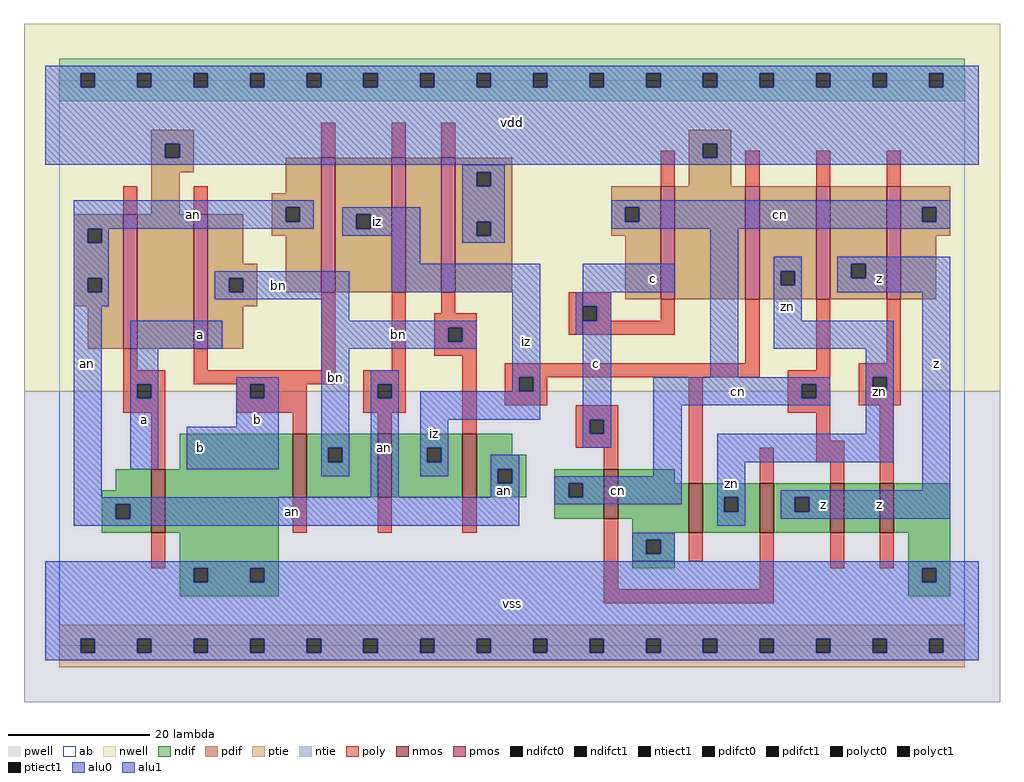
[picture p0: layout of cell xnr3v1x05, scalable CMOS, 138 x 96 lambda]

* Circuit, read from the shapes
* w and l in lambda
.subckt xnr3v1x05 a an b bn c cn iz vdd vss z zn
M1 vss a an vss nfet w=9 l=2
M2 bn b vss vss nfet w=9 l=2
M3 iz an bn vss nfet w=9 l=2
M4 an bn iz vss nfet w=9 l=2
M5 vss c cn vss nfet w=7 l=2
M6 zn iz vss vss nfet w=7 l=2
M7 z c zn vss nfet w=7 l=2
M8 n1 cn z vss nfet w=7 l=2
M9 vss zn n1 vss nfet w=7 l=2
M10 vdd a an vdd pfet w=19 l=2
M11 bn b vdd vdd pfet w=19 l=2
M12 iz b an vdd pfet w=19 l=2
M13 n2 an iz vdd pfet w=19 l=2
M14 vdd bn n2 vdd pfet w=19 l=2
M15 vdd c cn vdd pfet w=16 l=2
M16 zn iz vdd vdd pfet w=16 l=2
M17 z cn zn vdd pfet w=16 l=2
M18 cn zn z vdd pfet w=16 l=2
.ends

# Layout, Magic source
magic
tech scmos
<< ab >>
rect 0 0 128 80
<< nwell >>
rect -5 36 133 88
<< pwell >>
rect -5 -8 133 36
<< poly >>
rect 37 69 39 74
rect 47 69 49 74
rect 54 69 56 74
rect 9 61 11 65
rect 19 61 21 65
rect 85 65 87 70
rect 97 65 99 70
rect 107 65 109 70
rect 117 65 119 70
rect 9 39 11 42
rect 19 39 21 42
rect 37 39 39 50
rect 47 39 49 50
rect 54 47 56 50
rect 72 48 78 50
rect 53 45 59 47
rect 53 43 55 45
rect 57 43 59 45
rect 72 46 74 48
rect 76 46 78 48
rect 85 46 87 49
rect 72 44 87 46
rect 53 41 59 43
rect 9 37 15 39
rect 19 37 39 39
rect 43 37 49 39
rect 9 35 11 37
rect 13 35 15 37
rect 9 33 15 35
rect 25 35 27 37
rect 29 35 35 37
rect 25 33 35 35
rect 43 35 45 37
rect 47 35 49 37
rect 43 33 49 35
rect 13 25 15 33
rect 33 30 35 33
rect 45 30 47 33
rect 57 30 59 41
rect 97 40 99 49
rect 63 38 99 40
rect 107 39 109 49
rect 117 40 119 49
rect 63 36 65 38
rect 67 36 69 38
rect 63 34 69 36
rect 73 32 79 34
rect 73 30 75 32
rect 77 30 79 32
rect 73 28 79 30
rect 77 25 79 28
rect 33 16 35 21
rect 45 16 47 21
rect 57 16 59 21
rect 89 23 91 38
rect 103 37 109 39
rect 103 35 105 37
rect 107 35 109 37
rect 103 33 109 35
rect 113 38 119 40
rect 113 36 115 38
rect 117 36 119 38
rect 113 34 119 36
rect 107 29 109 33
rect 99 23 101 28
rect 107 26 111 29
rect 109 23 111 26
rect 116 23 118 34
rect 13 11 15 16
rect 77 8 79 18
rect 89 12 91 16
rect 99 8 101 16
rect 109 11 111 16
rect 116 11 118 16
rect 77 6 101 8
<< ndif >>
rect 17 25 33 30
rect 8 22 13 25
rect 6 20 13 22
rect 6 18 8 20
rect 10 18 13 20
rect 6 16 13 18
rect 15 21 33 25
rect 35 28 45 30
rect 35 26 38 28
rect 40 26 45 28
rect 35 21 45 26
rect 47 28 57 30
rect 47 26 52 28
rect 54 26 57 28
rect 47 21 57 26
rect 59 27 64 30
rect 59 25 66 27
rect 59 23 62 25
rect 64 23 66 25
rect 59 21 66 23
rect 70 23 77 25
rect 70 21 72 23
rect 74 21 77 23
rect 15 16 31 21
rect 70 18 77 21
rect 79 23 87 25
rect 79 18 89 23
rect 17 11 31 16
rect 17 9 19 11
rect 21 9 27 11
rect 29 9 31 11
rect 17 7 31 9
rect 81 16 89 18
rect 91 21 99 23
rect 91 19 94 21
rect 96 19 99 21
rect 91 16 99 19
rect 101 21 109 23
rect 101 19 104 21
rect 106 19 109 21
rect 101 16 109 19
rect 111 16 116 23
rect 118 16 126 23
rect 81 15 87 16
rect 81 13 83 15
rect 85 13 87 15
rect 81 11 87 13
rect 120 11 126 16
rect 120 9 122 11
rect 124 9 126 11
rect 120 7 126 9
<< pdif >>
rect 13 71 19 73
rect 13 69 15 71
rect 17 69 19 71
rect 89 71 95 73
rect 13 67 19 69
rect 13 61 17 67
rect 32 64 37 69
rect 30 62 37 64
rect 2 59 9 61
rect 2 57 4 59
rect 6 57 9 59
rect 2 52 9 57
rect 2 50 4 52
rect 6 50 9 52
rect 2 48 9 50
rect 4 42 9 48
rect 11 42 19 61
rect 21 54 26 61
rect 30 60 32 62
rect 34 60 37 62
rect 30 58 37 60
rect 21 52 28 54
rect 21 50 24 52
rect 26 50 28 52
rect 32 50 37 58
rect 39 61 47 69
rect 39 59 42 61
rect 44 59 47 61
rect 39 50 47 59
rect 49 50 54 69
rect 56 67 64 69
rect 56 65 59 67
rect 61 65 64 67
rect 89 69 91 71
rect 93 69 95 71
rect 89 65 95 69
rect 56 60 64 65
rect 56 58 59 60
rect 61 58 64 60
rect 78 62 85 65
rect 78 60 80 62
rect 82 60 85 62
rect 78 58 85 60
rect 56 50 64 58
rect 21 48 28 50
rect 21 42 26 48
rect 80 49 85 58
rect 87 49 97 65
rect 99 53 107 65
rect 99 51 102 53
rect 104 51 107 53
rect 99 49 107 51
rect 109 54 117 65
rect 109 52 112 54
rect 114 52 117 54
rect 109 49 117 52
rect 119 62 126 65
rect 119 60 122 62
rect 124 60 126 62
rect 119 58 126 60
rect 119 49 124 58
<< alu1 >>
rect -2 81 130 82
rect -2 79 3 81
rect 5 79 11 81
rect 13 79 19 81
rect 21 79 27 81
rect 29 79 35 81
rect 37 79 43 81
rect 45 79 51 81
rect 53 79 59 81
rect 61 79 67 81
rect 69 79 75 81
rect 77 79 83 81
rect 85 79 91 81
rect 93 79 99 81
rect 101 79 107 81
rect 109 79 115 81
rect 117 79 123 81
rect 125 79 130 81
rect -2 71 130 79
rect -2 69 15 71
rect 17 69 91 71
rect 93 69 130 71
rect -2 68 130 69
rect 74 50 87 54
rect 10 42 23 46
rect 10 37 14 42
rect 10 35 11 37
rect 13 35 14 37
rect 10 25 14 35
rect 25 37 31 38
rect 25 35 27 37
rect 29 35 31 37
rect 25 31 31 35
rect 18 25 31 31
rect 74 48 78 50
rect 76 46 78 48
rect 74 32 78 46
rect 110 54 126 55
rect 110 52 112 54
rect 114 52 126 54
rect 110 50 126 52
rect 74 30 75 32
rect 77 30 78 32
rect 74 28 78 30
rect 122 22 126 50
rect 102 21 126 22
rect 102 19 104 21
rect 106 19 126 21
rect 102 18 126 19
rect -2 11 130 12
rect -2 9 19 11
rect 21 9 27 11
rect 29 9 122 11
rect 124 9 130 11
rect -2 1 130 9
rect -2 -1 3 1
rect 5 -1 11 1
rect 13 -1 19 1
rect 21 -1 27 1
rect 29 -1 35 1
rect 37 -1 43 1
rect 45 -1 51 1
rect 53 -1 59 1
rect 61 -1 67 1
rect 69 -1 75 1
rect 77 -1 83 1
rect 85 -1 91 1
rect 93 -1 99 1
rect 101 -1 107 1
rect 109 -1 115 1
rect 117 -1 123 1
rect 125 -1 130 1
rect -2 -2 130 -1
<< ptie >>
rect 0 1 128 3
rect 0 -1 3 1
rect 5 -1 11 1
rect 13 -1 19 1
rect 21 -1 27 1
rect 29 -1 35 1
rect 37 -1 43 1
rect 45 -1 51 1
rect 53 -1 59 1
rect 61 -1 67 1
rect 69 -1 75 1
rect 77 -1 83 1
rect 85 -1 91 1
rect 93 -1 99 1
rect 101 -1 107 1
rect 109 -1 115 1
rect 117 -1 123 1
rect 125 -1 128 1
rect 0 -3 128 -1
<< ntie >>
rect 0 81 128 83
rect 0 79 3 81
rect 5 79 11 81
rect 13 79 19 81
rect 21 79 27 81
rect 29 79 35 81
rect 37 79 43 81
rect 45 79 51 81
rect 53 79 59 81
rect 61 79 67 81
rect 69 79 75 81
rect 77 79 83 81
rect 85 79 91 81
rect 93 79 99 81
rect 101 79 107 81
rect 109 79 115 81
rect 117 79 123 81
rect 125 79 128 81
rect 0 77 128 79
<< nmos >>
rect 13 16 15 25
rect 33 21 35 30
rect 45 21 47 30
rect 57 21 59 30
rect 77 18 79 25
rect 89 16 91 23
rect 99 16 101 23
rect 109 16 111 23
rect 116 16 118 23
<< pmos >>
rect 9 42 11 61
rect 19 42 21 61
rect 37 50 39 69
rect 47 50 49 69
rect 54 50 56 69
rect 85 49 87 65
rect 97 49 99 65
rect 107 49 109 65
rect 117 49 119 65
<< polyct0 >>
rect 55 43 57 45
rect 45 35 47 37
rect 65 36 67 38
rect 105 35 107 37
rect 115 36 117 38
<< polyct1 >>
rect 74 46 76 48
rect 11 35 13 37
rect 27 35 29 37
rect 75 30 77 32
<< ndifct0 >>
rect 8 18 10 20
rect 38 26 40 28
rect 52 26 54 28
rect 62 23 64 25
rect 72 21 74 23
rect 94 19 96 21
rect 83 13 85 15
<< ndifct1 >>
rect 19 9 21 11
rect 27 9 29 11
rect 104 19 106 21
rect 122 9 124 11
<< ntiect1 >>
rect 3 79 5 81
rect 11 79 13 81
rect 19 79 21 81
rect 27 79 29 81
rect 35 79 37 81
rect 43 79 45 81
rect 51 79 53 81
rect 59 79 61 81
rect 67 79 69 81
rect 75 79 77 81
rect 83 79 85 81
rect 91 79 93 81
rect 99 79 101 81
rect 107 79 109 81
rect 115 79 117 81
rect 123 79 125 81
<< ptiect1 >>
rect 3 -1 5 1
rect 11 -1 13 1
rect 19 -1 21 1
rect 27 -1 29 1
rect 35 -1 37 1
rect 43 -1 45 1
rect 51 -1 53 1
rect 59 -1 61 1
rect 67 -1 69 1
rect 75 -1 77 1
rect 83 -1 85 1
rect 91 -1 93 1
rect 99 -1 101 1
rect 107 -1 109 1
rect 115 -1 117 1
rect 123 -1 125 1
<< pdifct0 >>
rect 4 57 6 59
rect 4 50 6 52
rect 32 60 34 62
rect 24 50 26 52
rect 42 59 44 61
rect 59 65 61 67
rect 59 58 61 60
rect 80 60 82 62
rect 102 51 104 53
rect 122 60 124 62
<< pdifct1 >>
rect 15 69 17 71
rect 91 69 93 71
rect 112 52 114 54
<< alu0 >>
rect 57 67 63 68
rect 57 65 59 67
rect 61 65 63 67
rect 2 62 36 63
rect 2 60 32 62
rect 34 60 36 62
rect 2 59 36 60
rect 40 61 51 62
rect 40 59 42 61
rect 44 59 51 61
rect 2 57 4 59
rect 6 57 7 59
rect 40 58 51 59
rect 2 52 7 57
rect 47 54 51 58
rect 57 60 63 65
rect 57 58 59 60
rect 61 58 63 60
rect 78 62 126 63
rect 78 60 80 62
rect 82 60 122 62
rect 124 60 126 62
rect 78 59 126 60
rect 57 57 63 58
rect 2 50 4 52
rect 6 50 7 52
rect 2 48 7 50
rect 22 52 41 53
rect 22 50 24 52
rect 26 50 41 52
rect 47 50 68 54
rect 22 49 41 50
rect 2 21 6 48
rect 37 46 41 49
rect 37 45 59 46
rect 37 43 55 45
rect 57 43 59 45
rect 37 42 59 43
rect 37 28 41 42
rect 37 26 38 28
rect 40 26 41 28
rect 37 24 41 26
rect 44 37 48 39
rect 44 35 45 37
rect 47 35 48 37
rect 64 38 68 50
rect 73 44 74 50
rect 64 36 65 38
rect 67 36 68 38
rect 44 21 48 35
rect 51 32 68 36
rect 92 38 96 59
rect 101 53 105 55
rect 101 51 102 53
rect 104 51 105 53
rect 101 46 105 51
rect 101 42 118 46
rect 114 38 118 42
rect 51 28 55 32
rect 84 37 109 38
rect 84 35 105 37
rect 107 35 109 37
rect 84 34 109 35
rect 114 36 115 38
rect 117 36 118 38
rect 51 26 52 28
rect 54 26 55 28
rect 51 24 55 26
rect 61 25 65 27
rect 61 23 62 25
rect 64 23 65 25
rect 84 24 88 34
rect 114 30 118 36
rect 61 21 65 23
rect 2 20 65 21
rect 70 23 88 24
rect 70 21 72 23
rect 74 21 88 23
rect 70 20 88 21
rect 93 26 118 30
rect 93 21 97 26
rect 2 18 8 20
rect 10 18 65 20
rect 2 17 65 18
rect 93 19 94 21
rect 96 19 97 21
rect 93 17 97 19
rect 81 15 87 16
rect 81 13 83 15
rect 85 13 87 15
rect 81 12 87 13
<< labels >>
rlabel alu0 4 40 4 40 6 an
rlabel alu0 46 28 46 28 6 an
rlabel alu0 31 51 31 51 6 bn
rlabel alu0 39 38 39 38 6 bn
rlabel alu0 19 61 19 61 6 an
rlabel alu0 33 19 33 19 6 an
rlabel alu0 63 22 63 22 6 an
rlabel alu0 53 30 53 30 6 iz
rlabel alu0 48 44 48 44 6 bn
rlabel alu0 66 43 66 43 6 iz
rlabel alu0 45 60 45 60 6 iz
rlabel alu0 79 22 79 22 6 cn
rlabel alu0 95 23 95 23 6 zn
rlabel alu0 116 36 116 36 6 zn
rlabel alu0 96 36 96 36 6 cn
rlabel alu0 103 48 103 48 6 zn
rlabel alu0 102 61 102 61 6 cn
rlabel alu1 28 32 28 32 6 b
rlabel alu1 20 28 20 28 6 b
rlabel alu1 12 32 12 32 6 a
rlabel alu1 20 44 20 44 6 a
rlabel alu1 64 6 64 6 6 vss
rlabel alu1 76 40 76 40 6 c
rlabel alu1 84 52 84 52 6 c
rlabel alu1 64 74 64 74 6 vdd
rlabel alu1 116 20 116 20 6 z
rlabel alu1 108 20 108 20 6 z
rlabel alu1 124 40 124 40 6 z
rlabel alu1 116 52 116 52 6 z
<< end >>
